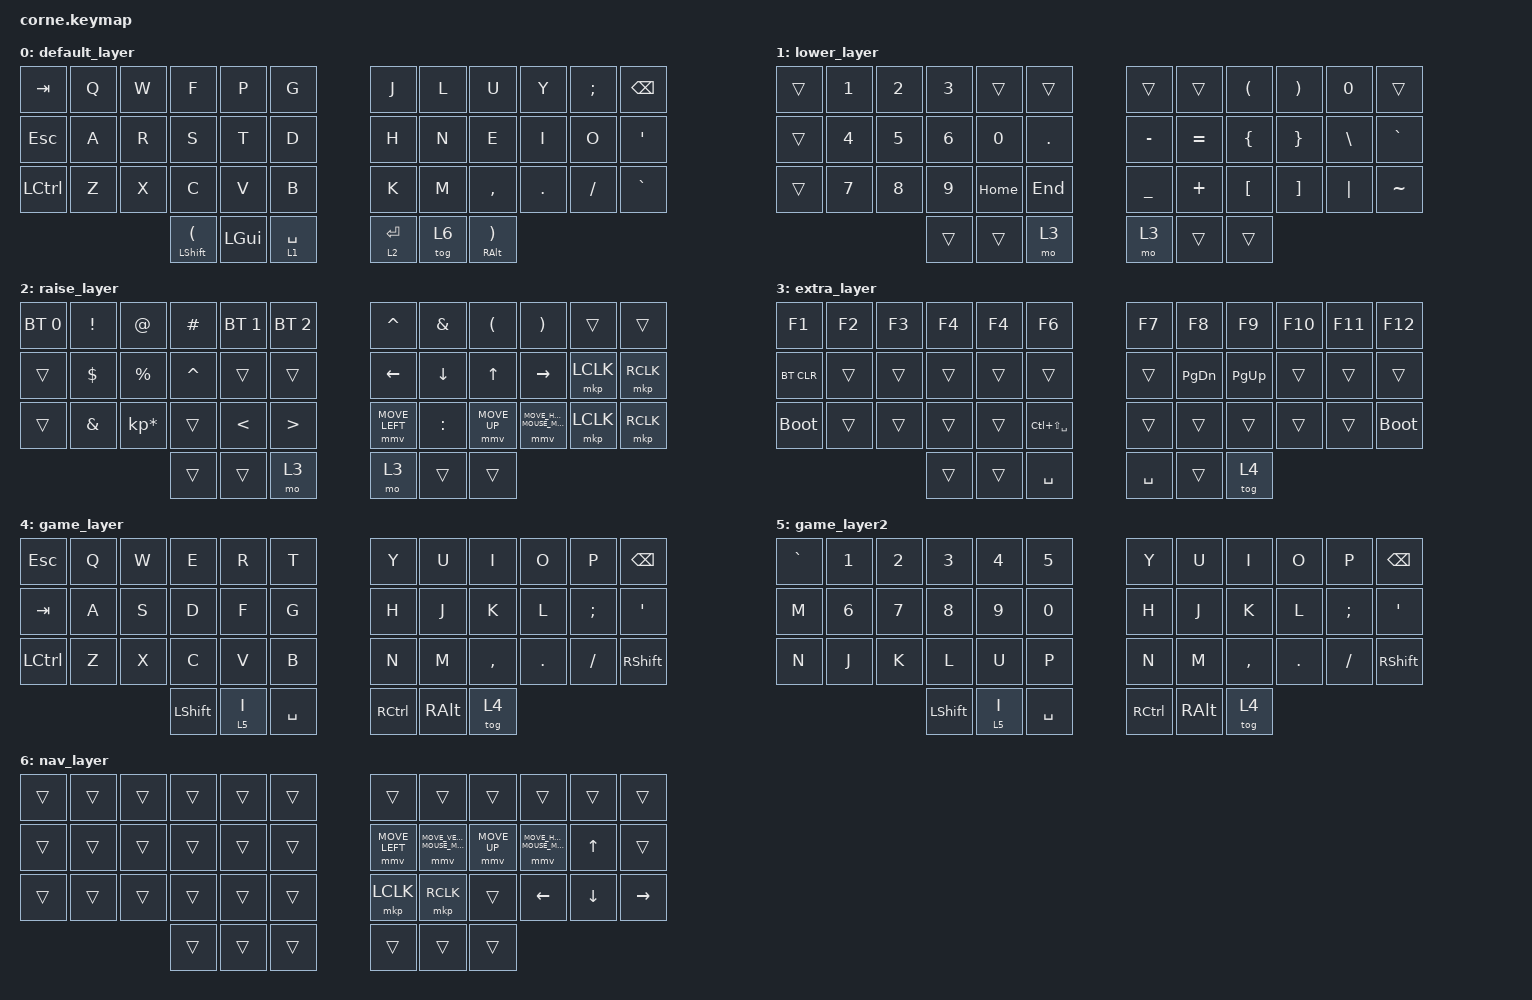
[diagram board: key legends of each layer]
/* Copyright (c) 2020 The ZMK Contributors
 *
 * SPDX-License-Identifier: MIT
 */

#include <behaviors.dtsi>
#include <dt-bindings/zmk/mouse.h>
#include <dt-bindings/zmk/bt.h>
#include <dt-bindings/zmk/keys.h>
#define U_MOUSE_MOVE_MAX 1400                     /* <--- New max speed setting (default: 600) */
#undef MOVE_UP
#undef MOVE_DOWN
#undef MOVE_LEFT
#undef MOVE_RIGHT
#define MOVE_UP MOVE_VERT(-U_MOUSE_MOVE_MAX)
#define MOVE_DOWN MOVE_VERT(U_MOUSE_MOVE_MAX)
#define MOVE_LEFT MOVE_HOR(-U_MOUSE_MOVE_MAX)
#define MOVE_RIGHT MOVE_HOR(U_MOUSE_MOVE_MAX)

&mmv {
	time-to-max-speed-ms = <400>;             /* <--- How long time until max speed is reached (default: 500) */
};

/ {
    keymap {
        compatible = "zmk,keymap";

        default_layer {
            // -----------------------------------------------------------------------------------------
            // |  TAB |  Q  |  W  |  E  |  R  |  T  |   |  Y  |  U   |  I  |  O  |  P  | BKSP |
            // | CTRL |  A  |  S  |  D  |  F  |  G  |   |  H  |  J   |  K  |  L  |  ;  |  '   |
            // | SHFT |  Z  |  X  |  C  |  V  |  B  |   |  N  |  M   |  ,  |  .  |  /  | ESC  |
            //                    | GUI | LWR | SPC |   | ENT | RSE  | ALT |

            bindings = <
&kp TAB    &kp Q  &kp W  &kp F                            &kp P     &kp G          &kp J      &kp L   &kp U                            &kp Y    &kp SEMI  &kp BSPC
&kp ESC    &kp A  &kp R  &kp S                            &kp T     &kp D          &kp H      &kp N   &kp E                            &kp I    &kp O     &kp SQT
&kp LCTRL  &kp Z  &kp X  &kp C                            &kp V     &kp B          &kp K      &kp M   &kp COMMA                        &kp DOT  &kp FSLH  &kp GRAVE
                         &mt LEFT_SHIFT LEFT_PARENTHESIS  &kp LGUI  &lt 1 SPACE    &lt 2 RET  &tog 6  &mt RIGHT_ALT RIGHT_PARENTHESIS
            >;
        };

        lower_layer {
            // -----------------------------------------------------------------------------------------
            // |  TAB |  1  |  2  |  3  |  4  |  5  |   |  6  |  7  |  8  |  9  |  0  | BKSP |
            // | BTCLR| BT1 | BT2 | BT3 | BT4 | BT5 |   | LFT | DWN |  UP | RGT |     |      |
            // | SHFT |     |     |     |     |     |   |     |     |     |     |     |      |
            //                    | GUI |     | SPC |   | ENT |     | ALT |

            bindings = <
&trans  &kp N1  &kp N2  &kp N3  &trans    &trans     &trans          &trans     &kp LEFT_PARENTHESIS  &kp RIGHT_PARENTHESIS  &kp N0         &trans
&trans  &kp N4  &kp N5  &kp N6  &kp N0    &kp DOT    &kp MINUS       &kp EQUAL  &kp LEFT_BRACE        &kp RIGHT_BRACE        &kp BACKSLASH  &kp GRAVE
&trans  &kp N7  &kp N8  &kp N9  &kp HOME  &kp END    &kp UNDERSCORE  &kp PLUS   &kp LEFT_BRACKET      &kp RIGHT_BRACKET      &kp PIPE       &kp TILDE
                        &trans  &trans    &mo 3      &mo 3           &trans     &trans
            >;
        };

        raise_layer {
            // -----------------------------------------------------------------------------------------
            // |  TAB |  !  |  @  |  #  |  %  |   |  ^  |  &  |  *  |  (  |  )  | BKSP |
            // | CTRL |     |     |     |     |     |   |  -  |  =  |  [  |  ]  |  \  |  `   |
            // | SHFT |     |     |     |     |     |   |  _  |  +  |  {  |  }  | "|" |  ~   |
            //                    | GUI |     | SPC |   | ENT |     | ALT |

            bindings = <
&bt BT_SEL 0  &kp EXCL       &kp AT           &kp HASH   &bt BT_SEL 1   &bt BT_SEL 2        &kp CARET       &kp AMPS   &kp LEFT_PARENTHESIS  &kp RIGHT_PARENTHESIS  &trans     &trans
&trans        &kp DOLLAR     &kp PERCENT      &kp CARET  &trans         &trans              &kp LEFT_ARROW  &kp DOWN   &kp UP_ARROW          &kp RIGHT              &mkp LCLK  &mkp RCLK
&trans        &kp AMPERSAND  &kp KP_MULTIPLY  &trans     &kp LESS_THAN  &kp GREATER_THAN    &mmv MOVE_LEFT  &kp COLON  &mmv MOVE_UP          &mmv MOVE_RIGHT        &mkp LCLK  &mkp RCLK
                                              &trans     &trans         &mo 3               &mo 3           &trans     &trans
            >;
        };

        extra_layer {
            bindings = <
&kp F1       &kp F2  &kp F3  &kp F4  &kp F4  &kp F6               &kp F7     &kp F8     &kp F9     &kp F10  &kp F11  &kp F12
&bt BT_CLR   &trans  &trans  &trans  &trans  &trans               &trans     &kp PG_DN  &kp PG_UP  &trans   &trans   &trans
&bootloader  &trans  &trans  &trans  &trans  &kp LC(LS(SPACE))    &trans     &trans     &trans     &trans   &trans   &bootloader
                             &trans  &trans  &kp SPACE            &kp SPACE  &trans     &tog 4
            >;
        };

        game_layer {
            bindings = <
&kp ESC    &kp Q  &kp W  &kp E      &kp R    &kp T        &kp Y      &kp U     &kp I      &kp O    &kp P     &kp BSPC
&kp TAB    &kp A  &kp S  &kp D      &kp F    &kp G        &kp H      &kp J     &kp K      &kp L    &kp SEMI  &kp SQT
&kp LCTRL  &kp Z  &kp X  &kp C      &kp V    &kp B        &kp N      &kp M     &kp COMMA  &kp DOT  &kp FSLH  &kp RSHFT
                         &kp LSHFT  &lt 5 I  &kp SPACE    &kp RCTRL  &kp RALT  &tog 4
            >;
        };

        game_layer2 {
            bindings = <
&kp GRAVE  &kp N1  &kp N2  &kp N3     &kp N4   &kp N5       &kp Y      &kp U     &kp I      &kp O    &kp P     &kp BSPC
&kp M      &kp N6  &kp N7  &kp N8     &kp N9   &kp N0       &kp H      &kp J     &kp K      &kp L    &kp SEMI  &kp SQT
&kp N      &kp J   &kp K   &kp L      &kp U    &kp P        &kp N      &kp M     &kp COMMA  &kp DOT  &kp FSLH  &kp RSHFT
                           &kp LSHFT  &lt 5 I  &kp SPACE    &kp RCTRL  &kp RALT  &tog 4
            >;
        };

        nav_layer {
            bindings = <
&trans  &trans  &trans  &trans  &trans  &trans    &trans          &trans          &trans        &trans           &trans    &trans
&trans  &trans  &trans  &trans  &trans  &trans    &mmv MOVE_LEFT  &mmv MOVE_DOWN  &mmv MOVE_UP  &mmv MOVE_RIGHT  &kp UP    &trans
&trans  &trans  &trans  &trans  &trans  &trans    &mkp LCLK       &mkp RCLK       &trans        &kp LEFT         &kp DOWN  &kp RIGHT
                        &trans  &trans  &trans    &trans          &trans          &trans
            >;
        };
    };
};
